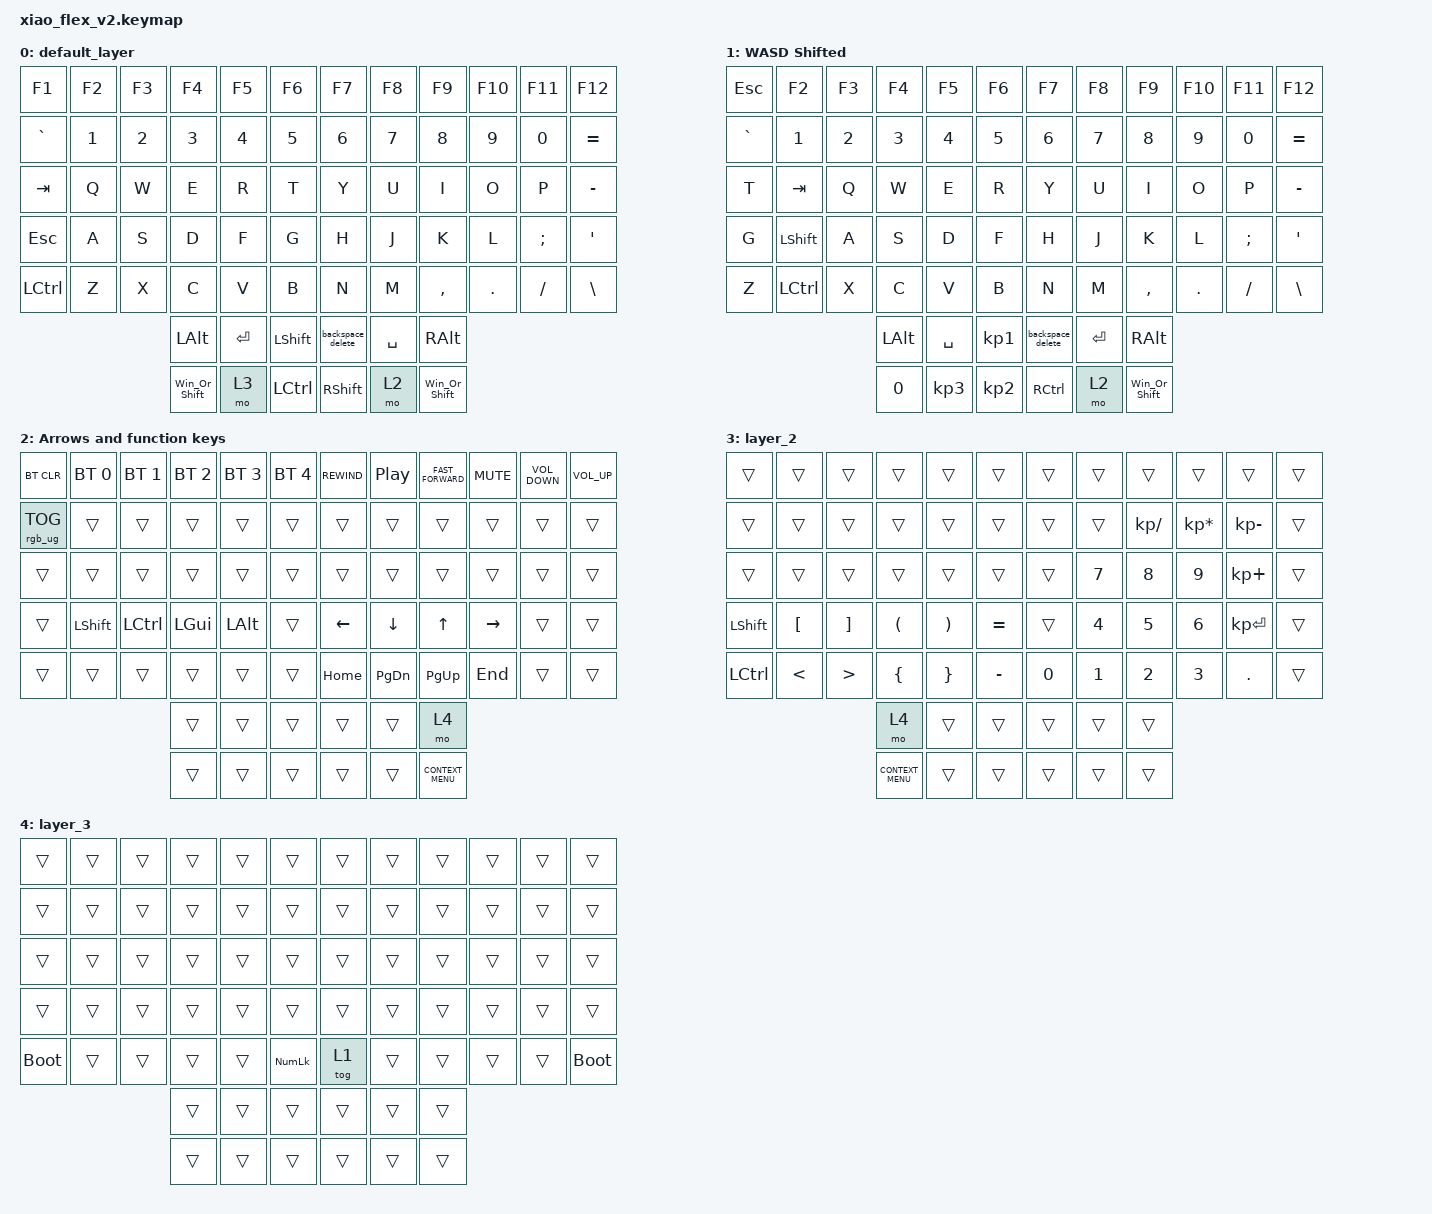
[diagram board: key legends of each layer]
/*
 * Copyright (c) 2020 The ZMK Contributors
 *
 * SPDX-License-Identifier: MIT
 */

#include <behaviors.dtsi>
#include <dt-bindings/zmk/bt.h>
#include <dt-bindings/zmk/keys.h>
#include <dt-bindings/zmk/rgb.h>

/ {
    behaviors {
        Win_Or_Shift: Win_Or_Shift {
            compatible = "zmk,behavior-mod-morph";
            label = "WIN_OR_SHIFT";
            bindings = <&kp LEFT_GUI>, <&kp LEFT_SHIFT>;

            #binding-cells = <0>;
            mods = <(MOD_LALT|MOD_RALT)>;
            keep-mods = <(MOD_LALT|MOD_RALT)>;
        };

        backspace_delete: backspace_delete {
            compatible = "zmk,behavior-mod-morph";
            label = "BACKSPACE_DELETE";
            bindings = <&kp BACKSPACE>, <&kp DELETE>;

            #binding-cells = <0>;
            mods = <(MOD_LSFT|MOD_RSFT)>;
        };
    };

    keymap {
        compatible = "zmk,keymap";

        default_layer {
            // ------------------------------------------------------------------------------------------------------------
            // |  ESC   |  1  |  2  |  3   |  4   |  5   |                    |  6   |  7    |  8    |  9   |   0   |   `   |
            // |  TAB   |  Q  |  W  |  E   |  R   |  T   |                    |  Y   |  U    |  I    |  O   |   P   |   -   |
            // |  CTRL  |  A  |  S  |  D   |  F   |  G   |                    |  H   |  J    |  K    |  L   |   ;   |   '   |
            // | SHIFT  |  Z  |  X  |  C   |  V   |  B   |                    |  N   |  M    |  ,    |  .   |   /   | SHIFT |
            // |    2   |  2  | f   | 6    | 4    | 1    |                    | 2    | 1     | w     | s    | n     |  a    |

            bindings = <
&kp F1            &kp F2  &kp F3  &kp F4         &kp F5     &kp F6              &kp F7             &kp F8     &kp F9         &kp F10  &kp F11   &kp F12
&kp GRAVE         &kp N1  &kp N2  &kp N3         &kp N4     &kp N5              &kp N6             &kp N7     &kp N8         &kp N9   &kp N0    &kp EQUAL
&kp TAB           &kp Q   &kp W   &kp E          &kp R      &kp T               &kp Y              &kp U      &kp I          &kp O    &kp P     &kp MINUS
&kp ESCAPE        &kp A   &kp S   &kp D          &kp F      &kp G               &kp H              &kp J      &kp K          &kp L    &kp SEMI  &kp SQT
&kp LEFT_CONTROL  &kp Z   &kp X   &kp C          &kp V      &kp B               &kp N              &kp M      &kp COMMA      &kp DOT  &kp FSLH  &kp BSLH
                                  &kp LEFT_ALT   &kp ENTER  &kp LEFT_SHIFT      &backspace_delete  &kp SPACE  &kp RIGHT_ALT
                                  &Win_Or_Shift  &mo 3      &kp LEFT_CONTROL    &kp RIGHT_SHIFT    &mo 2      &Win_Or_Shift
            >;
        };

        Gaming {
            bindings = <
&kp ESCAPE  &kp F2     &kp F3  &kp F4        &kp F5     &kp F6       &kp F7             &kp F8     &kp F9         &kp F10  &kp F11   &kp F12
&kp GRAVE   &kp N1     &kp N2  &kp N3        &kp N4     &kp N5       &kp N6             &kp N7     &kp N8         &kp N9   &kp N0    &kp EQUAL
&kp T       &kp TAB    &kp Q   &kp W         &kp E      &kp R        &kp Y              &kp U      &kp I          &kp O    &kp P     &kp MINUS
&kp G       &kp LSHFT  &kp A   &kp S         &kp D      &kp F        &kp H              &kp J      &kp K          &kp L    &kp SEMI  &kp SQT
&kp Z       &kp LCTRL  &kp X   &kp C         &kp V      &kp B        &kp N              &kp M      &kp COMMA      &kp DOT  &kp FSLH  &kp BSLH
                               &kp LEFT_ALT  &kp SPACE  &kp KP_N1    &backspace_delete  &kp ENTER  &kp RIGHT_ALT
                               &kp N0        &kp KP_N3  &kp KP_N2    &kp RIGHT_CONTROL  &mo 2      &Win_Or_Shift
            >;

            label = "WASD Shifted";
        };

        Movement {
            bindings = <
&bt BT_CLR       &bt BT_SEL 0    &bt BT_SEL 1      &bt BT_SEL 2  &bt BT_SEL 3  &bt BT_SEL 4    &kp C_REWIND  &kp C_PLAY_PAUSE  &kp C_FAST_FORWARD  &kp C_MUTE  &kp C_VOLUME_DOWN  &kp C_VOLUME_UP
&rgb_ug RGB_TOG  &trans          &trans            &trans        &trans        &trans          &trans        &trans            &trans              &trans      &trans             &trans
&trans           &trans          &trans            &trans        &trans        &trans          &trans        &trans            &trans              &trans      &trans             &trans
&trans           &kp LEFT_SHIFT  &kp LEFT_CONTROL  &kp LEFT_GUI  &kp LEFT_ALT  &trans          &kp LEFT      &kp DOWN          &kp UP_ARROW        &kp RIGHT   &trans             &trans
&trans           &trans          &trans            &trans        &trans        &trans          &kp HOME      &kp PAGE_DOWN     &kp PG_UP           &kp END     &trans             &trans
                                                   &trans        &trans        &trans          &trans        &trans            &mo 4
                                                   &trans        &trans        &trans          &trans        &trans            &kp K_CONTEXT_MENU
            >;

            label = "Arrows and function keys";
        };

        layer_2 {
            bindings = <
&trans            &trans            &trans             &trans                &trans                 &trans       &trans  &trans        &trans        &trans           &trans        &trans
&trans            &trans            &trans             &trans                &trans                 &trans       &trans  &trans        &kp KP_SLASH  &kp KP_MULTIPLY  &kp KP_MINUS  &trans
&trans            &trans            &trans             &trans                &trans                 &trans       &trans  &kp NUMBER_7  &kp N8        &kp N9           &kp KP_PLUS   &trans
&kp LEFT_SHIFT    &kp LEFT_BRACKET  &kp RIGHT_BRACKET  &kp LEFT_PARENTHESIS  &kp RIGHT_PARENTHESIS  &kp EQUAL    &trans  &kp NUMBER_4  &kp N5        &kp NUMBER_6     &kp KP_ENTER  &trans
&kp LEFT_CONTROL  &kp LESS_THAN     &kp GREATER_THAN   &kp LEFT_BRACE        &kp RIGHT_BRACE        &kp MINUS    &kp N0  &kp NUMBER_1  &kp NUMBER_2  &kp NUMBER_3     &kp DOT       &trans
                                                       &mo 4                 &trans                 &trans       &trans  &trans        &trans
                                                       &kp K_CONTEXT_MENU    &trans                 &trans       &trans  &trans        &trans
            >;
        };

        layer_3 {
            bindings = <
&trans       &trans  &trans  &trans  &trans  &trans            &trans  &trans  &trans  &trans  &trans  &trans
&trans       &trans  &trans  &trans  &trans  &trans            &trans  &trans  &trans  &trans  &trans  &trans
&trans       &trans  &trans  &trans  &trans  &trans            &trans  &trans  &trans  &trans  &trans  &trans
&trans       &trans  &trans  &trans  &trans  &trans            &trans  &trans  &trans  &trans  &trans  &trans
&bootloader  &trans  &trans  &trans  &trans  &kp KP_NUMLOCK    &tog 1  &trans  &trans  &trans  &trans  &bootloader
                             &trans  &trans  &trans            &trans  &trans  &trans
                             &trans  &trans  &trans            &trans  &trans  &trans
            >;
        };
    };
};
